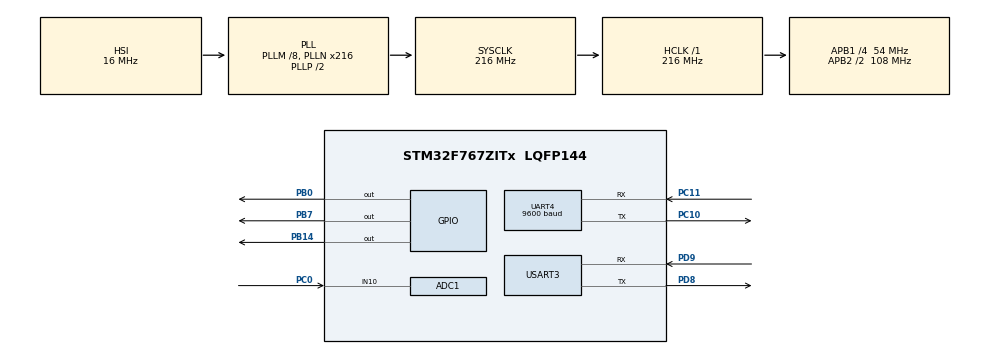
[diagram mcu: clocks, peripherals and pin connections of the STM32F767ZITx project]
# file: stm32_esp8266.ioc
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ADC1.Channel-0\#ChannelRegularConversion=ADC_CHANNEL_10
ADC1.ContinuousConvMode=ENABLE
ADC1.EOCSelection=ADC_EOC_SEQ_CONV
ADC1.NbrOfConversionFlag=1
ADC1.Rank-0\#ChannelRegularConversion=1
ADC1.SamplingTime-0\#ChannelRegularConversion=ADC_SAMPLETIME_3CYCLES
ADC1.master=1
Dma.Request0=UART4_RX
Dma.UART4_RX.0.Direction=DMA_PERIPH_TO_MEMORY
Dma.UART4_RX.0.FIFOMode=DMA_FIFOMODE_DISABLE
Dma.UART4_RX.0.Instance=DMA1_Stream2
Dma.UART4_RX.0.MemDataAlignment=DMA_MDATAALIGN_BYTE
Dma.UART4_RX.0.MemInc=DMA_MINC_ENABLE
Dma.UART4_RX.0.Mode=DMA_CIRCULAR
Dma.UART4_RX.0.PeriphDataAlignment=DMA_PDATAALIGN_BYTE
Dma.UART4_RX.0.PeriphInc=DMA_PINC_DISABLE
Dma.UART4_RX.0.Priority=DMA_PRIORITY_LOW
Mcu.Family=STM32F7
Mcu.Name=STM32F767ZITx
Mcu.Package=LQFP144
NVIC.ADC_IRQn=true\:1\:0\:true\:false\:true\:true\:true
NVIC.DMA1_Stream2_IRQn=true\:0\:0\:false\:false\:true\:false\:true
NVIC.PriorityGroup=NVIC_PRIORITYGROUP_2
NVIC.UART4_IRQn=true\:1\:1\:true\:false\:true\:true\:true
NVIC.USART3_IRQn=true\:2\:2\:true\:false\:true\:true\:true
PB0.Signal=GPIO_Output
PB14.Signal=GPIO_Output
PB7.Signal=GPIO_Output
PC0.Signal=ADCx_IN10
PC10.Mode=Asynchronous
PC10.Signal=UART4_TX
PC11.Mode=Asynchronous
PC11.Signal=UART4_RX
PD8.Mode=Asynchronous
PD8.Signal=USART3_TX
PD9.Mode=Asynchronous
PD9.Signal=USART3_RX
ProjectManager.HeapSize=0x200
ProjectManager.StackSize=0x400
ProjectManager.TargetToolchain=MDK-ARM V5
RCC.AHBFreq_Value=216000000
RCC.APB1CLKDivider=RCC_HCLK_DIV4
RCC.APB1Freq_Value=54000000
RCC.APB1TimFreq_Value=108000000
RCC.APB2CLKDivider=RCC_HCLK_DIV2
RCC.APB2Freq_Value=108000000
RCC.APB2TimFreq_Value=216000000
RCC.CortexFreq_Value=216000000
RCC.HCLKFreq_Value=216000000
RCC.HSE_VALUE=25000000
RCC.HSI_VALUE=16000000
RCC.LSE_VALUE=32768
RCC.PLLM=8
RCC.PLLN=216
RCC.SYSCLKFreq_VALUE=216000000
RCC.SYSCLKSource=RCC_SYSCLKSOURCE_PLLCLK
RCC.USBFreq_Value=216000000
RCC.VCOOutputFreq_Value=432000000
SH.ADCx_IN10.0=ADC1_IN10,IN10
TIM1.Period=1000-1
TIM1.Prescaler=216-1
UART4.BaudRate=9600
USART3.VirtualMode-Asynchronous=VM_ASYNC
VP_TIM1_VS_ClockSourceINT.Mode=Internal
board=custom

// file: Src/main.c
/* USER CODE BEGIN Header */
/**
  ******************************************************************************
  * @file           : main.c
  * @brief          : Main program body
  ******************************************************************************
  * @attention
  *
  * <h2><center>&copy; Copyright (c) 2019 STMicroelectronics.
  * All rights reserved.</center></h2>
  *
  * This software component is licensed by ST under BSD 3-Clause license,
  * the "License"; You may not use this file except in compliance with the
  * License. You may obtain a copy of the License at:
  *                        opensource.org/licenses/BSD-3-Clause
  *
  ******************************************************************************
  */
/* USER CODE END Header */

#include "main.h"
#include "adc.h"
#include "dma.h"
#include "tim.h"
#include "usart.h"
#include "gpio.h"

/* USER CODE BEGIN Includes */
#include "ESP-01_STM32.h"
#include "MQTTPacket.h"
/* USER CODE END Includes */

/* USER CODE BEGIN PV */
	char Rx[20];
	char ate[] = "ATE0\r\n";
	char at[] = "AT\r\n";
	uint32_t count = 1;
/* USER CODE END PV */

void SystemClock_Config(void);

/* USER CODE BEGIN 0 */

void HAL_UART_RxHalfCpltCallback(UART_HandleTypeDef *huart)
{
	while(__HAL_UART_GET_FLAG(&huart3,UART_FLAG_TC)==RESET){}
	HAL_UART_Transmit(&huart3, (uint8_t*) Rx, strlen(Rx),1000);

}

/* USER CODE END 0 */

int main(void)
{

  /* MCU Configuration--------------------------------------------------------*/

  /* Reset of all peripherals, Initializes the Flash interface and the Systick. */
  HAL_Init();

  /* Configure the system clock */
  SystemClock_Config();

  /* Initialize all configured peripherals */
  MX_GPIO_Init();
  MX_DMA_Init();
  MX_ADC1_Init();
  MX_TIM1_Init();
  MX_UART4_Init();
  MX_USART3_UART_Init();
  /* USER CODE BEGIN 2 */

	// INIT ESP-01
	while(!(initESP01(&huart4))) {
		HAL_GPIO_WritePin(GPIOB,GPIO_PIN_0,GPIO_PIN_RESET);
		HAL_GPIO_WritePin(GPIOB,GPIO_PIN_7,GPIO_PIN_RESET);
		HAL_GPIO_WritePin(GPIOB,GPIO_PIN_14,GPIO_PIN_SET);
		HAL_Delay(100);
	}
	// CLEAR RX
	Rx[0] = 0;
		HAL_GPIO_WritePin(GPIOB,GPIO_PIN_0,GPIO_PIN_SET);
		HAL_GPIO_WritePin(GPIOB,GPIO_PIN_7,GPIO_PIN_SET);
		HAL_GPIO_WritePin(GPIOB,GPIO_PIN_14,GPIO_PIN_SET);
	HAL_Delay(500);
	// CONNECT TO ... WIFI!
	while(!(connectWIFI("N8NNY","88888888"))) {
		HAL_GPIO_WritePin(GPIOB,GPIO_PIN_0,GPIO_PIN_RESET);
		HAL_GPIO_WritePin(GPIOB,GPIO_PIN_7,GPIO_PIN_SET);
		HAL_GPIO_WritePin(GPIOB,GPIO_PIN_14,GPIO_PIN_RESET);
		Rx[0] = 0;
	}
	// CLEAR RX
	Rx[0] = 0;
		HAL_GPIO_WritePin(GPIOB,GPIO_PIN_0,GPIO_PIN_SET);
		HAL_GPIO_WritePin(GPIOB,GPIO_PIN_7,GPIO_PIN_SET);
		HAL_GPIO_WritePin(GPIOB,GPIO_PIN_14,GPIO_PIN_SET);
		HAL_Delay(500);

	// OPEN TCP CONNECTION!
	while(!(openTCPConnect("tailor.cloudmqtt.com", 16347))){

		if(!waitForString("ALREAY CONNECT",10,5000))
			break;
		HAL_GPIO_WritePin(GPIOB,GPIO_PIN_0,GPIO_PIN_RESET);
		HAL_GPIO_WritePin(GPIOB,GPIO_PIN_7,GPIO_PIN_SET);
		HAL_GPIO_WritePin(GPIOB,GPIO_PIN_14,GPIO_PIN_SET);
		Rx[0] = 0;
	}
		HAL_GPIO_WritePin(GPIOB,GPIO_PIN_0,GPIO_PIN_SET);
		HAL_GPIO_WritePin(GPIOB,GPIO_PIN_7,GPIO_PIN_SET);
		HAL_GPIO_WritePin(GPIOB,GPIO_PIN_14,GPIO_PIN_SET);
		HAL_Delay(1000);
	// CLEAR RX
	Rx[0] = 0;

	//MAKE CONNECT!

	// Init Struct to Create Packect.
	MQTTPacket_connectData data = MQTTPacket_connectData_initializer;
	// Variable for Packect.
	unsigned char buf[200];
	// Length of buf.
	int buflen = sizeof(buf);
	// Don't know!
	int msgid = 1;
	int req_qos = 0;
	// Struct for Name of Toppic!
	MQTTString topicString = MQTTString_initializer;
	// Text For Publish
	char* payload = "HELLO N8NNY!!!!";
	int payloadlen = strlen(payload);
	// Text For Publish

	// Byte of Packet.
	uint16_t lenB = 0;
	// SET INSTRUCTION CONNECT PACKET
	data.clientID.cstring = "me";
	data.keepAliveInterval = 20;
	data.cleansession = 1;
	data.username.cstring = "tizxinbp";
	data.password.cstring = "u813eLQKHMrn";
	// Create Packet to Connect...Server.
	lenB = MQTTSerialize_connect(buf, buflen, &data);
	// Send CONNECT Packet to...Server.
	uint8_t check = sendData(buf, lenB);
	Rx[0] = 0;

	// Set Name TOPIC
	topicString.cstring ="Test";
	payloadlen = strlen(payload);
	// Create Packet to PUBLISH!
	lenB = MQTTSerialize_publish(buf, buflen, 0, 0, 0, 0, topicString, (unsigned char*)payload, payloadlen);
	// Send PUBLISH to...Server.
	uint8_t check1 = sendData(buf, lenB);
	// CLEAR RX
	Rx[0] = 0;
	/*

	*/
  /* USER CODE END 2 */

  /* Infinite loop */
  while (1)
  {

    /* USER CODE BEGIN 3 */
		HAL_GPIO_WritePin(GPIOB,GPIO_PIN_0,GPIO_PIN_SET);
		HAL_GPIO_WritePin(GPIOB,GPIO_PIN_7,GPIO_PIN_SET);
		HAL_GPIO_WritePin(GPIOB,GPIO_PIN_14,GPIO_PIN_SET);

		switch (sendData(buf,lenB)) {
			case 0:
					HAL_GPIO_WritePin(GPIOB,GPIO_PIN_0,GPIO_PIN_RESET);
					HAL_GPIO_WritePin(GPIOB,GPIO_PIN_7,GPIO_PIN_RESET);
					HAL_GPIO_WritePin(GPIOB,GPIO_PIN_14,GPIO_PIN_SET);
					break;
			case 2:
					HAL_GPIO_WritePin(GPIOB,GPIO_PIN_0,GPIO_PIN_SET);
					HAL_GPIO_WritePin(GPIOB,GPIO_PIN_7,GPIO_PIN_RESET);
					HAL_GPIO_WritePin(GPIOB,GPIO_PIN_14,GPIO_PIN_RESET);
					break;
		}
		// CLEAR RX
		Rx[0] = 0;
		HAL_Delay(5000);
  }
  /* USER CODE END 3 */
}

void SystemClock_Config(void)
{
  RCC_OscInitTypeDef RCC_OscInitStruct = {0};
  RCC_ClkInitTypeDef RCC_ClkInitStruct = {0};
  RCC_PeriphCLKInitTypeDef PeriphClkInitStruct = {0};

  /** Configure the main internal regulator output voltage
  */
  __HAL_RCC_PWR_CLK_ENABLE();
  __HAL_PWR_VOLTAGESCALING_CONFIG(PWR_REGULATOR_VOLTAGE_SCALE1);
  /** Initializes the CPU, AHB and APB busses clocks
  */
  RCC_OscInitStruct.OscillatorType = RCC_OSCILLATORTYPE_HSI;
  RCC_OscInitStruct.HSIState = RCC_HSI_ON;
  RCC_OscInitStruct.HSICalibrationValue = RCC_HSICALIBRATION_DEFAULT;
  RCC_OscInitStruct.PLL.PLLState = RCC_PLL_ON;
  RCC_OscInitStruct.PLL.PLLSource = RCC_PLLSOURCE_HSI;
  RCC_OscInitStruct.PLL.PLLM = 8;
  RCC_OscInitStruct.PLL.PLLN = 216;
  RCC_OscInitStruct.PLL.PLLP = RCC_PLLP_DIV2;
  RCC_OscInitStruct.PLL.PLLQ = 2;
  if (HAL_RCC_OscConfig(&RCC_OscInitStruct) != HAL_OK)
  {
    Error_Handler();
  }
  /** Activate the Over-Drive mode
  */
  if (HAL_PWREx_EnableOverDrive() != HAL_OK)
  {
    Error_Handler();
  }
  /** Initializes the CPU, AHB and APB busses clocks
  */
  RCC_ClkInitStruct.ClockType = RCC_CLOCKTYPE_HCLK|RCC_CLOCKTYPE_SYSCLK
                              |RCC_CLOCKTYPE_PCLK1|RCC_CLOCKTYPE_PCLK2;
  RCC_ClkInitStruct.SYSCLKSource = RCC_SYSCLKSOURCE_PLLCLK;
  RCC_ClkInitStruct.AHBCLKDivider = RCC_SYSCLK_DIV1;
  RCC_ClkInitStruct.APB1CLKDivider = RCC_HCLK_DIV4;
  RCC_ClkInitStruct.APB2CLKDivider = RCC_HCLK_DIV2;

  if (HAL_RCC_ClockConfig(&RCC_ClkInitStruct, FLASH_LATENCY_7) != HAL_OK)
  {
    Error_Handler();
  }
  PeriphClkInitStruct.PeriphClockSelection = RCC_PERIPHCLK_USART3|RCC_PERIPHCLK_UART4;
  PeriphClkInitStruct.Usart3ClockSelection = RCC_USART3CLKSOURCE_PCLK1;
  PeriphClkInitStruct.Uart4ClockSelection = RCC_UART4CLKSOURCE_PCLK1;
  if (HAL_RCCEx_PeriphCLKConfig(&PeriphClkInitStruct) != HAL_OK)
  {
    Error_Handler();
  }
}

void Error_Handler(void)
{
}

/************************ (C) COPYRIGHT STMicroelectronics *****END OF FILE****/
